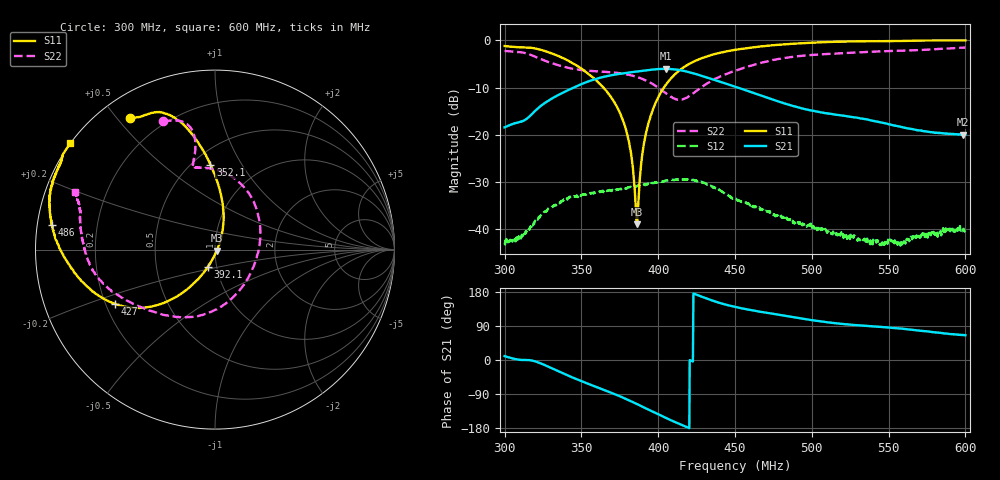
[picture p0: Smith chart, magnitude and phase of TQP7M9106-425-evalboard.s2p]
! created by azisi at Mon Sep 28 15:06:25 EEST 2020
! generated using vna/J Version 3.4.3
# Hz S DB R 50.0
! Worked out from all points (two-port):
!   1014 points, 300 MHz to 600 MHz, reference 50 ohm
!   highest |S21| = -6.02 dB at 404.8 MHz (marker M1); lowest = -20.0 dB at 598.2 MHz (marker M2)
!   |S21| within 3 dB of the highest: 352 MHz to 442.6 MHz (90.63 MHz wide, 22.8 % of centre)
!   lowest |S11| = -39.0 dB at 386.2 MHz (marker M3), VSWR 1.02, Z = 51 - j0.548 ohm
!   |S11| at or under -10 dB: 364.3 MHz to 403.7 MHz (39.42 MHz wide, 10.3 % of centre)
!   |S22| runs from -12.6 to -1.5 dB; largest |S21 - S12| = 0.51
!   S11 on the Smith chart (normalised r, x): 300 MHz: 0.09, +0.54; 352.1 MHz: 0.61, +0.74; 392.1 MHz: 0.91, -0.18; 427 MHz: 0.24, -0.24; 486 MHz: 0.04, +0.07; 600 MHz: 0.00, +0.33
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3e8  -1.18 122.9  -18.46 10.3  -42.94 -88.2  -2.22 111.9
3.239881e8  -2.02 108.7  -13.79 -9.8  -37.08 -123.3  -4.01 100.3
3.500492e8  -5.99 94.4  -9.27 -55.9  -32.86 -170.0  -6.29 104.7
3.521222e8  -6.50 93.1  -9.01 -59.1  -32.69 -172.4  -6.39 104.8
3.764064e8  -16.44 71.8  -7.03 -98.0  -31.45 151.7  -7.06 89.4
3.817371e8  -22.92 61.3  -6.78 -107.8  -31.06 143.8  -7.37 81.8
3.861794e8  -39.03 -28.7  -6.59 -116.2  -30.93 135.2  -7.75 74.3
3.897331e8  -23.97 -105.5  -6.43 -123.3  -30.69 130.5  -8.17 67.4
3.921023e8  -19.61 -112.6  -6.34 -127.9  -30.57 127.1  -8.52 62.2
4.000984e8  -12.01 -124.0  -6.08 -143.5  -30.00 113.7  -10.08 41.0
4.048367e8  -9.46 -129.1  -6.02 -152.6  -29.79 104.9  -11.21 23.8
4.187557e8  -5.25 -143.5  -6.63 -177.3  -29.63 75.8  -12.12 -46.3
4.211249e8  -4.83 -145.9  -6.83 -361.4  -29.55 70.3  -11.64 -57.3
4.220134e8  -4.67 -146.8  -6.91 -362.9  -29.65 68.8  -11.41 -61.2
4.243826e8  -4.31 -149.1  -7.14 173.3  -29.71 64.8  -10.84 -70.8
4.270479e8  -3.94 -151.7  -7.40 169.1  -30.01 58.9  -10.19 -79.8
4.501475e8  -2.00 -170.9  -9.83 139.9  -33.77 26.0  -6.43 -132.2
4.859816e8  -0.72 171.5  -13.74 114.4  -38.02 10.4  -3.54 -165.4
5.001967e8  -0.48 166.5  -14.92 105.1  -39.77 10.7  -3.08 -172.9
5.502459e8  -0.15 152.8  -17.82 85.3  -42.91 -4.7  -2.27 167.1
5.98222e8  0.00 143.8  -20.02 66.0  -40.53 -11.7  -1.53 157.9
5.999989e8  0.00 143.6  -19.98 65.3  -40.70 -13.5  -1.50 157.6
